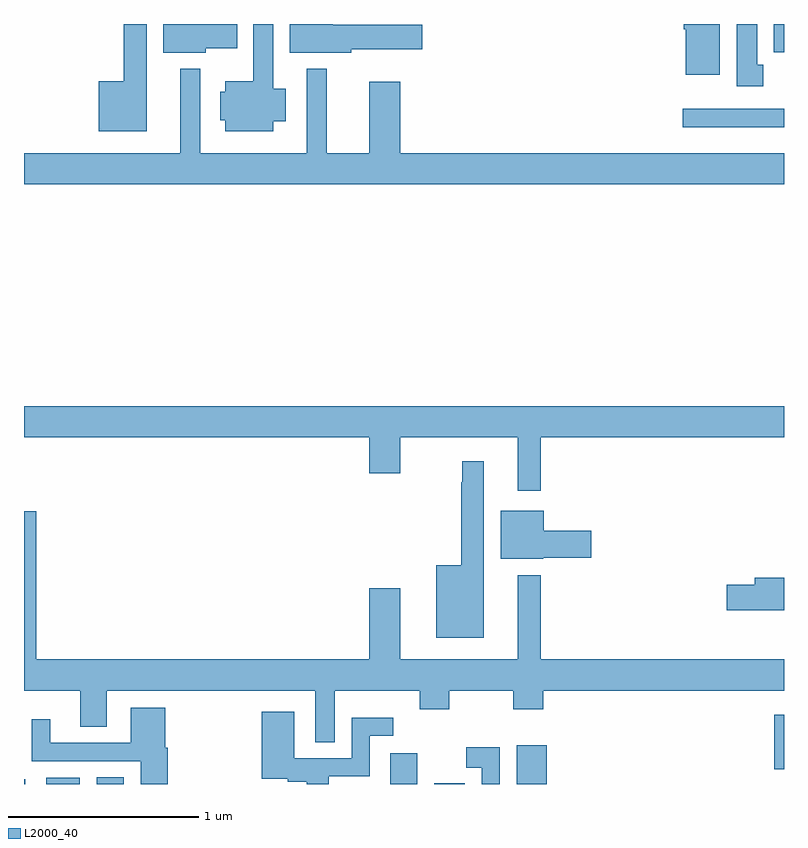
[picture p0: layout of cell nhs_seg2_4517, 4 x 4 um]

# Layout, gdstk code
import gdstk
lib = gdstk.Library(unit=1e-6, precision=1e-09)
def R(c, l, rs):  # rectangles x0, y0, x1, y1
    for r in rs: c.add(gdstk.rectangle(r[:2], r[2:], *l))
def P(c, l, *ps):  # polygons
    for p in ps: c.add(gdstk.Polygon(p, *l))
L2000_40 = (2000, 40)

nhs_seg2_4517 = lib.new_cell('nhs_seg2_4517')
R(nhs_seg2_4517, L2000_40, [(355,657.8,355.006,657.825), (355.118,657.8,355.294,657.832), (355.382,657.8,355.525,657.836), (356.927,657.8,357.07,657.961), (357.158,657.8,357.319,657.804), (357.593,657.8,357.752,658.003), (358.949,657.878,359,658.165), (358.467,661.256,359,661.353), (358.946,661.652,359,661.8)])
P(nhs_seg2_4517, L2000_40, [(356.722,661.667),(357.097,661.667),(357.097,661.797),(356.626,661.797),(356.626,661.8),(356.399,661.8),(356.399,661.649),(356.722,661.649)],
  [(355.956,661.673),(356.122,661.673),(356.122,661.8),(355.733,661.8),(355.733,661.649),(355.956,661.649)],
  [(358.663,661.8),(358.472,661.8),(358.472,661.772),(358.484,661.772),(358.484,661.532),(358.663,661.532)],
  [(358.891,661.586),(358.858,661.586),(358.858,661.8),(358.751,661.8),(358.751,661.473),(358.891,661.473)],
  [(356.311,661.289),(356.377,661.289),(356.377,661.46),(356.311,661.46),(356.311,661.8),(356.207,661.8),(356.207,661.498),(356.06,661.498),(356.06,661.443),(356.033,661.443),(356.033,661.293),(356.06,661.293),(356.06,661.235),(356.311,661.235)],
  [(355.645,661.8),(355.524,661.8),(355.524,661.498),(355.394,661.498),(355.394,661.235),(355.645,661.235)],
  [(359,661.12),(356.98,661.12),(356.98,661.495),(356.816,661.495),(356.816,661.12),(356.593,661.12),(356.593,661.564),(356.489,661.564),(356.489,661.12),(355.927,661.12),(355.927,661.564),(355.823,661.564),(355.823,661.12),(355,661.12),(355,660.956),(359,660.956)],
  [(357.721,659.624),(359,659.624),(359,659.788),(355,659.788),(355,659.624),(356.816,659.624),(356.816,659.436),(356.98,659.436),(356.98,659.624),(357.599,659.624),(357.599,659.343),(357.721,659.343)],
  [(357.421,659.5),(357.307,659.5),(357.307,659.387),(357.3,659.387),(357.3,658.951),(357.17,658.951),(357.17,658.571),(357.421,658.571)],
  [(357.732,658.991),(357.985,658.991),(357.985,659.133),(357.736,659.133),(357.736,659.239),(357.509,659.239),(357.509,658.985),(357.732,658.985)],
  [(356.635,658.292),(357.082,658.292),(357.082,658.193),(357.237,658.193),(357.237,658.292),(357.574,658.292),(357.574,658.193),(357.734,658.193),(357.734,658.292),(359,658.292),(359,658.456),(357.721,658.456),(357.721,658.9),(357.599,658.9),(357.599,658.456),(356.98,658.456),(356.98,658.831),(356.816,658.831),(356.816,658.456),(355.064,658.456),(355.064,659.236),(355,659.236),(355,658.292),(355.295,658.292),(355.295,658.102),(355.435,658.102),(355.435,658.292),(356.534,658.292),(356.534,658.021),(356.635,658.021)],
  [(359,658.886),(358.847,658.886),(358.847,658.85),(358.698,658.85),(358.698,658.715),(359,658.715)],
  [(355.757,657.99),(355.744,657.99),(355.744,658.201),(355.562,658.201),(355.562,658.017),(355.138,658.017),(355.138,658.141),(355.04,658.141),(355.04,657.921),(355.614,657.921),(355.614,657.8),(355.757,657.8)],
  [(356.605,657.84),(356.82,657.84),(356.82,658.053),(356.944,658.053),(356.944,658.15),(356.724,658.15),(356.724,657.936),(356.422,657.936),(356.422,658.18),(356.252,658.18),(356.252,657.827),(356.388,657.827),(356.388,657.812),(356.487,657.812),(356.487,657.8),(356.605,657.8)],
  [(357.504,657.994),(357.327,657.994),(357.327,657.885),(357.408,657.885),(357.408,657.8),(357.504,657.8)])

lib.write_gds('nhs_seg2_4517.gds')
